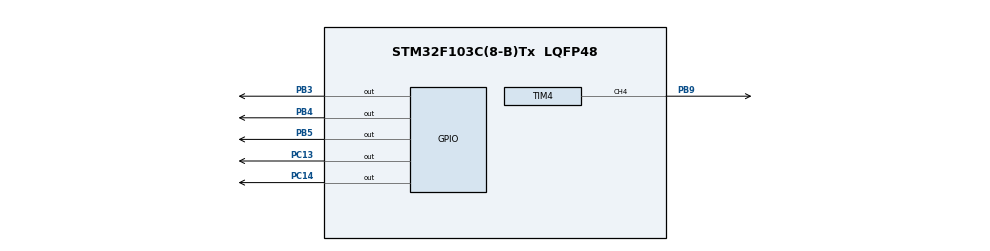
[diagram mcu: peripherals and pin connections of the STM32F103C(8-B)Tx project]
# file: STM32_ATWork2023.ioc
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Mcu.Family=STM32F1
Mcu.Name=STM32F103C(8-B)Tx
Mcu.Package=LQFP48
NVIC.PriorityGroup=NVIC_PRIORITYGROUP_4
PA13.Mode=Serial_Wire
PA13.Signal=SYS_JTMS-SWDIO
PA14.Mode=Serial_Wire
PA14.Signal=SYS_JTCK-SWCLK
PB3.Signal=GPIO_Output
PB4.Signal=GPIO_Output
PB5.Signal=GPIO_Output
PB9.Signal=S_TIM4_CH4
PC13-TAMPER-RTC.Signal=GPIO_Output
PC14-OSC32_IN.Signal=GPIO_Output
PD0-OSC_IN.Mode=HSE-External-Oscillator
PD0-OSC_IN.Signal=RCC_OSC_IN
PD1-OSC_OUT.Mode=HSE-External-Oscillator
PD1-OSC_OUT.Signal=RCC_OSC_OUT
ProjectManager.HeapSize=0x200
ProjectManager.StackSize=0x400
ProjectManager.TargetToolchain=STM32CubeIDE
RCC.APB1Freq_Value=8000000
RCC.APB2Freq_Value=8000000
SH.S_TIM4_CH4.0=TIM4_CH4,PWM Generation4 CH4
TIM4.Channel-PWM\ Generation4\ CH4=TIM_CHANNEL_4
board=custom

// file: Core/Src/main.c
/* USER CODE BEGIN Header */
/**
  ******************************************************************************
  * @file           : main.c
  * @brief          : Main program body
  ******************************************************************************
  * @attention
  *
  * Copyright (c) 2023 STMicroelectronics.
  * All rights reserved.
  *
  * This software is licensed under terms that can be found in the LICENSE file
  * in the root directory of this software component.
  * If no LICENSE file comes with this software, it is provided AS-IS.
  *
  ******************************************************************************
  */
/* USER CODE END Header */
#include "main.h"

 TIM_HandleTypeDef htim4;

void SystemClock_Config(void);
static void MX_GPIO_Init(void);
static void MX_TIM4_Init(void);

int main(void)
{

  /* MCU Configuration--------------------------------------------------------*/

  /* Reset of all peripherals, Initializes the Flash interface and the Systick. */
  HAL_Init();

  /* Configure the system clock */
  SystemClock_Config();

  /* Initialize all configured peripherals */
  MX_GPIO_Init();
  MX_TIM4_Init();
  /* USER CODE BEGIN 2 */
  HAL_TIM_PWM_Start(&htim4, TIM_CHANNEL_1);
  HAL_TIM_PWM_Start(&htim4, TIM_CHANNEL_2);
  HAL_TIM_PWM_Start(&htim4, TIM_CHANNEL_3);
  HAL_TIM_PWM_Start(&htim4, TIM_CHANNEL_4);
  for(int i=0; i<10; i++){
	  HAL_Delay(100);
	  HAL_GPIO_TogglePin(GPIOC, GPIO_PIN_14); // Red LED
  }
  HAL_GPIO_WritePin(GPIOC, GPIO_PIN_13, 1); // Green LED
  HAL_GPIO_WritePin(GPIOC, GPIO_PIN_14, 0); // Red LED
  HAL_GPIO_WritePin(GPIOB, GPIO_PIN_3, 1); // Motors Enable
  /* USER CODE END 2 */

  /* Infinite loop */
  /* USER CODE BEGIN WHILE */
  while (1)
  {
	  for(int i=0; i<65535; i+=10){
		  HAL_GPIO_WritePin(GPIOB, GPIO_PIN_4, 1);
		  HAL_GPIO_WritePin(GPIOB, GPIO_PIN_5, 0);
		  TIM4->CCR4 = i;
		  HAL_Delay(1);
	  }
	  for(int i=65535; i>=0; i-=10){
		  HAL_GPIO_WritePin(GPIOB, GPIO_PIN_4, 1);
		  HAL_GPIO_WritePin(GPIOB, GPIO_PIN_5, 0);
		  TIM4->CCR4 = i;
		  HAL_Delay(1);
	  }
	  for(int i=0; i<65535; i+=10){
		  HAL_GPIO_WritePin(GPIOB, GPIO_PIN_4, 0);
		  HAL_GPIO_WritePin(GPIOB, GPIO_PIN_5, 1);
		  TIM4->CCR4 = i;
		  HAL_Delay(1);
	  }
	  for(int i=65535; i>=0; i-=10){
		  HAL_GPIO_WritePin(GPIOB, GPIO_PIN_4, 0);
		  HAL_GPIO_WritePin(GPIOB, GPIO_PIN_5, 1);
		  TIM4->CCR4 = i;
		  HAL_Delay(1);
	  }

    /* USER CODE END WHILE */

  }
}

void SystemClock_Config(void)
{
  RCC_OscInitTypeDef RCC_OscInitStruct = {0};
  RCC_ClkInitTypeDef RCC_ClkInitStruct = {0};

  /** Initializes the RCC Oscillators according to the specified parameters
  * in the RCC_OscInitTypeDef structure.
  */
  RCC_OscInitStruct.OscillatorType = RCC_OSCILLATORTYPE_HSI;
  RCC_OscInitStruct.HSIState = RCC_HSI_ON;
  RCC_OscInitStruct.HSICalibrationValue = RCC_HSICALIBRATION_DEFAULT;
  RCC_OscInitStruct.PLL.PLLState = RCC_PLL_NONE;
  if (HAL_RCC_OscConfig(&RCC_OscInitStruct) != HAL_OK)
  {
    Error_Handler();
  }

  /** Initializes the CPU, AHB and APB buses clocks
  */
  RCC_ClkInitStruct.ClockType = RCC_CLOCKTYPE_HCLK|RCC_CLOCKTYPE_SYSCLK
                              |RCC_CLOCKTYPE_PCLK1|RCC_CLOCKTYPE_PCLK2;
  RCC_ClkInitStruct.SYSCLKSource = RCC_SYSCLKSOURCE_HSI;
  RCC_ClkInitStruct.AHBCLKDivider = RCC_SYSCLK_DIV1;
  RCC_ClkInitStruct.APB1CLKDivider = RCC_HCLK_DIV1;
  RCC_ClkInitStruct.APB2CLKDivider = RCC_HCLK_DIV1;

  if (HAL_RCC_ClockConfig(&RCC_ClkInitStruct, FLASH_LATENCY_0) != HAL_OK)
  {
    Error_Handler();
  }
}

static void MX_TIM4_Init(void)
{

  TIM_MasterConfigTypeDef sMasterConfig = {0};
  TIM_OC_InitTypeDef sConfigOC = {0};

  htim4.Instance = TIM4;
  htim4.Init.Prescaler = 0;
  htim4.Init.CounterMode = TIM_COUNTERMODE_UP;
  htim4.Init.Period = 65535;
  htim4.Init.ClockDivision = TIM_CLOCKDIVISION_DIV1;
  htim4.Init.AutoReloadPreload = TIM_AUTORELOAD_PRELOAD_DISABLE;
  if (HAL_TIM_PWM_Init(&htim4) != HAL_OK)
  {
    Error_Handler();
  }
  sMasterConfig.MasterOutputTrigger = TIM_TRGO_RESET;
  sMasterConfig.MasterSlaveMode = TIM_MASTERSLAVEMODE_DISABLE;
  if (HAL_TIMEx_MasterConfigSynchronization(&htim4, &sMasterConfig) != HAL_OK)
  {
    Error_Handler();
  }
  sConfigOC.OCMode = TIM_OCMODE_PWM1;
  sConfigOC.Pulse = 0;
  sConfigOC.OCPolarity = TIM_OCPOLARITY_HIGH;
  sConfigOC.OCFastMode = TIM_OCFAST_DISABLE;
  if (HAL_TIM_PWM_ConfigChannel(&htim4, &sConfigOC, TIM_CHANNEL_4) != HAL_OK)
  {
    Error_Handler();
  }
  HAL_TIM_MspPostInit(&htim4);

}

static void MX_GPIO_Init(void)
{
  GPIO_InitTypeDef GPIO_InitStruct = {0};

  /* GPIO Ports Clock Enable */
  __HAL_RCC_GPIOC_CLK_ENABLE();
  __HAL_RCC_GPIOD_CLK_ENABLE();
  __HAL_RCC_GPIOA_CLK_ENABLE();
  __HAL_RCC_GPIOB_CLK_ENABLE();

  /*Configure GPIO pin Output Level */
  HAL_GPIO_WritePin(GPIOC, GPIO_PIN_13|GPIO_PIN_14, GPIO_PIN_RESET);

  /*Configure GPIO pin Output Level */
  HAL_GPIO_WritePin(GPIOB, GPIO_PIN_3|GPIO_PIN_4|GPIO_PIN_5, GPIO_PIN_RESET);

  /*Configure GPIO pins : PC13 PC14 */
  GPIO_InitStruct.Pin = GPIO_PIN_13|GPIO_PIN_14;
  GPIO_InitStruct.Mode = GPIO_MODE_OUTPUT_PP;
  GPIO_InitStruct.Pull = GPIO_NOPULL;
  GPIO_InitStruct.Speed = GPIO_SPEED_FREQ_LOW;
  HAL_GPIO_Init(GPIOC, &GPIO_InitStruct);

  /*Configure GPIO pins : PB3 PB4 PB5 */
  GPIO_InitStruct.Pin = GPIO_PIN_3|GPIO_PIN_4|GPIO_PIN_5;
  GPIO_InitStruct.Mode = GPIO_MODE_OUTPUT_PP;
  GPIO_InitStruct.Pull = GPIO_NOPULL;
  GPIO_InitStruct.Speed = GPIO_SPEED_FREQ_LOW;
  HAL_GPIO_Init(GPIOB, &GPIO_InitStruct);

}

void Error_Handler(void)
{
  __disable_irq();
  while (1)
  {
  }
}
